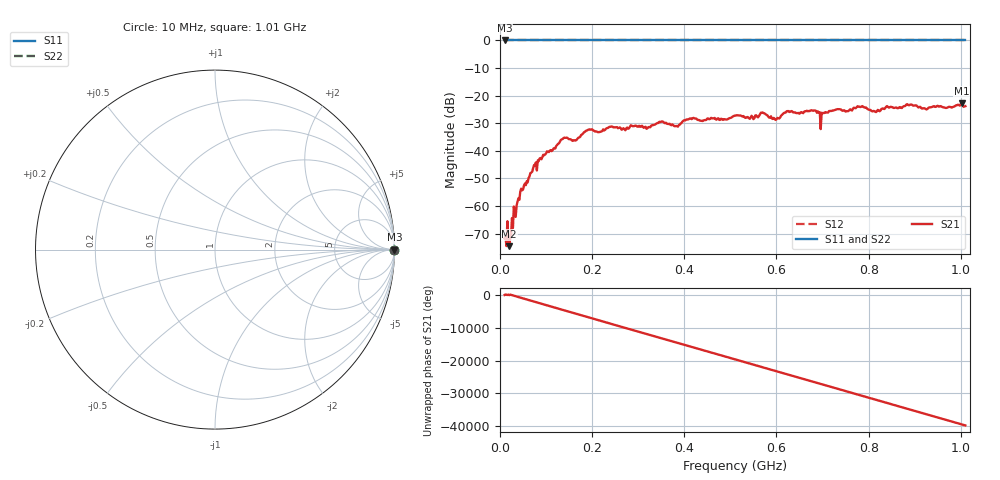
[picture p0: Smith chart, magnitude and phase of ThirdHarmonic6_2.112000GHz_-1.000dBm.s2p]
! 8/17/2025 1:15:35 AM
! C:\ANRITSUVNA\TEMP\TEMP.S2P
! CHANNEL.1
! TR.MEASUREMENT
! RAW.DATA
! RF.CORRECTION.OFF
! AVERAGING.OFF
! IF.BANDWIDTH: 5KHZ
! SWEEPTYPE:  FREQ.SWEEP(Linear)
! Reference Plane Port Info
! PORT:  PORT1  PORT2
! DISTANCE:  0  m  0  m
! TIME:  0  s  0  s
! PHASE.OFFSET:  0  deg.  0  deg.
! LOSS:  0  dB  0  dB
! REF.LOSS:  0  dB  0  dB
! REF.FREQ:  0  Hz  0  Hz
! Power Info
! POWER:  -20  dBm  -20  dBm
! EFF.POWER:  -20  dBm  -20  dBm
! SOURCE.ATTEN:  0  dB  0  dB
! TEST.ATTEN:  0  dB  0  dB
# GHZ S RI R 50.0
! FREQ.GHZ  S11RE  S11IM  S21RE  S21IM  S12RE  S12IM  S22RE  S22IM
!; PortSelection: Port_12
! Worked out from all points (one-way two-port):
!   501 points, 10 MHz to 1.01 GHz, reference 50 ohm
!   highest |S21| = -22.78 dB at 1.002 GHz (marker M1); lowest = -74.5 dB at 20 MHz (marker M2)
!   lowest |S11| = 0.0 dB at 10 MHz (marker M3)
!   |S11| at or under -10 dB: nowhere
!   |S22| runs from 0.0 to 0.0 dB; largest |S21 - S12| = 1.1
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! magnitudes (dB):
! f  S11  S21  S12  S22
! 10 MHz  0.0  -71.8  0.0  0.0
! 20 MHz  0.0  -74.5  0.0  0.0
! 24 MHz  0.0  -70.5  0.0  0.0
! 28 MHz  0.0  -68.0  0.0  0.0
! 42 MHz  0.0  -57.7  0.0  0.0
! 74 MHz  0.0  -45.1  0.0  0.0
! 136 MHz  0.0  -35.7  0.0  0.0
! 162 MHz  0.0  -36.2  0.0  0.0
! 178 MHz  0.0  -34.1  0.0  0.0
! 344 MHz  0.0  -29.9  0.0  0.0
! 382 MHz  0.0  -31.0  0.0  0.0
! 416 MHz  0.0  -28.5  0.0  0.0
! 510 MHz  0.0  -27.2  0.0  0.0
! 570 MHz  0.0  -26.1  0.0  0.0
! 596 MHz  0.0  -28.4  0.0  0.0
! 622 MHz  0.0  -25.7  0.0  0.0
! 678 MHz  0.0  -25.4  0.0  0.0
! 700 MHz  0.0  -26.4  0.0  0.0
! 732 MHz  0.0  -24.9  0.0  0.0
! 844 MHz  0.0  -24.4  0.0  0.0
! 1.002 GHz  0.0  -22.8  0.0  0.0
! 1.01 GHz  0.0  -23.8  0.0  0.0
